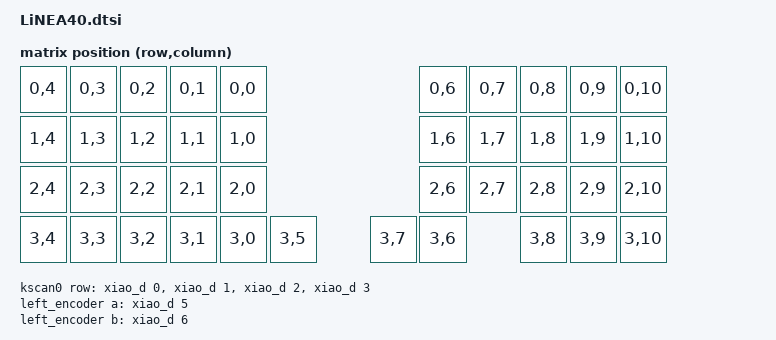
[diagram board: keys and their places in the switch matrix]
#include <dt-bindings/zmk/matrix_transform.h>
#include <physical_layouts.dtsi>

/ {
    chosen {
        zmk,physical-layout = &physical_layout0;
    };

    physical_layout0: physical_layout_0 {
        compatible = "zmk,physical-layout";
        display-name = "LiNEA40";
        kscan = <&kscan0>;
        transform = <&default_transform>;
        keys  //                     w   h    x    y     rot    rx    ry
            = <&key_physical_attrs 100 100    0    0       0     0     0>
            , <&key_physical_attrs 100 100  100    0       0     0     0>
            , <&key_physical_attrs 100 100  200    0       0     0     0>
            , <&key_physical_attrs 100 100  300    0       0     0     0>
            , <&key_physical_attrs 100 100  400    0       0     0     0>
            , <&key_physical_attrs 100 100  800    0       0     0     0>
            , <&key_physical_attrs 100 100  900    0       0     0     0>
            , <&key_physical_attrs 100 100 1000    0       0     0     0>
            , <&key_physical_attrs 100 100 1100    0       0     0     0>
            , <&key_physical_attrs 100 100 1200    0       0     0     0>
            , <&key_physical_attrs 100 100    0  100       0     0     0>
            , <&key_physical_attrs 100 100  100  100       0     0     0>
            , <&key_physical_attrs 100 100  200  100       0     0     0>
            , <&key_physical_attrs 100 100  300  100       0     0     0>
            , <&key_physical_attrs 100 100  400  100       0     0     0>
            , <&key_physical_attrs 100 100  800  100       0     0     0>
            , <&key_physical_attrs 100 100  900  100       0     0     0>
            , <&key_physical_attrs 100 100 1000  100       0     0     0>
            , <&key_physical_attrs 100 100 1100  100       0     0     0>
            , <&key_physical_attrs 100 100 1200  100       0     0     0>
            , <&key_physical_attrs 100 100    0  200       0     0     0>
            , <&key_physical_attrs 100 100  100  200       0     0     0>
            , <&key_physical_attrs 100 100  200  200       0     0     0>
            , <&key_physical_attrs 100 100  300  200       0     0     0>
            , <&key_physical_attrs 100 100  400  200       0     0     0>
            , <&key_physical_attrs 100 100  800  200       0     0     0>
            , <&key_physical_attrs 100 100  900  200       0     0     0>
            , <&key_physical_attrs 100 100 1000  200       0     0     0>
            , <&key_physical_attrs 100 100 1100  200       0     0     0>
            , <&key_physical_attrs 100 100 1200  200       0     0     0>
            , <&key_physical_attrs 100 100    0  300       0     0     0>
            , <&key_physical_attrs 100 100  100  300       0     0     0>
            , <&key_physical_attrs 100 100  200  300       0     0     0>
            , <&key_physical_attrs 100 100  300  300       0     0     0>
            , <&key_physical_attrs 100 100  400  300       0     0     0>
            , <&key_physical_attrs 100 100  500  300       0     0     0>
            , <&key_physical_attrs 100 100  700  300       0     0     0>
            , <&key_physical_attrs 100 100  800  300       0     0     0>
            , <&key_physical_attrs 100 100 1000  300       0     0     0>
            , <&key_physical_attrs 100 100 1100  300       0     0     0>
            , <&key_physical_attrs 100 100 1200  300       0     0     0>
            ;
    };

    default_transform: keymap_transform0 {
        compatible = "zmk,matrix-transform";
        columns = <11>;
        rows = <4>; 
        map = <
            RC(0,4) RC(0,3) RC(0,2) RC(0,1) RC(0,0)                 RC(0,6) RC(0,7) RC(0,8) RC(0,9) RC(0,10)
            RC(1,4) RC(1,3) RC(1,2) RC(1,1) RC(1,0)                 RC(1,6) RC(1,7) RC(1,8) RC(1,9) RC(1,10)
            RC(2,4) RC(2,3) RC(2,2) RC(2,1) RC(2,0)                 RC(2,6) RC(2,7) RC(2,8) RC(2,9) RC(2,10)
            RC(3,4) RC(3,3) RC(3,2) RC(3,1) RC(3,0) RC(3,5) RC(3,7) RC(3,6)         RC(3,8) RC(3,9) RC(3,10)
        >;
    };

    kscan0: kscan0 {
        compatible = "zmk,kscan-gpio-matrix";
        diode-direction = "col2row";

        row-gpios
            = <&xiao_d 0 (GPIO_ACTIVE_HIGH | GPIO_PULL_DOWN)>   //row0-D0
            , <&xiao_d 1 (GPIO_ACTIVE_HIGH | GPIO_PULL_DOWN)>   //row1-D1
            , <&xiao_d 2 (GPIO_ACTIVE_HIGH | GPIO_PULL_DOWN)>   //row2-D2
            , <&xiao_d 3 (GPIO_ACTIVE_HIGH | GPIO_PULL_DOWN)>   //row3-D3
            ;
    };

    left_encoder: encoder_left {
        compatible = "alps,ec11";
        a-gpios = <&xiao_d 5 (GPIO_ACTIVE_HIGH | GPIO_PULL_UP)>;
        b-gpios = <&xiao_d 6 (GPIO_ACTIVE_HIGH | GPIO_PULL_UP)>;
        steps = <24>;
        status = "disabled";
    };

    sensors: sensors {
        compatible = "zmk,keymap-sensors";
        sensors = <&left_encoder>;
        triggers-per-rotation = <24>; // 3x finer events; behavior compensates distance
    };

    trackball_listener: trackball_listener {
        compatible = "zmk,input-listener";
        status = "disabled";
    };
    behaviors {
        inertial_scroll: inertial_scroll {
            compatible = "zmk,behavior-inertial-scroll";
            #binding-cells = <1>;
            // v3.4: slower baseline to restore macOS slider headroom; stricter fast-only coast.
            frame-ms = <16>;
            tail-frames = <6>; // short glide after qualifying fast spin: <=6 frames
            rapid-threshold-ms = <18>; // only count very fast gaps
            grouping-threshold-ms = <45>; // prevents slow motion from initiating inertia
            rapid-impulse-q8 = <8>; // gentler post-stop glide velocity slope
            grouped-impulse-q8 = <90>; // lower post-stop glide starting velocity
            velocity-cap-q8 = <220>; // cap at ~0.86 HID fine units per 16ms frame
            decay-percent = <70>; // stronger deceleration after stop
            slow-detent-ticks = <2>; // Larger immediate wheel step when turning slowly
            rapid-detent-ticks = <1>; // Fallback for hosts without hi-res HID
            hires-detent-units = <2>; // 2 HID units per four 24-trigger events at 16x
            hires-immediate-units = <2>; // send each nonzero physical event immediately
            hires-chunk-units = <1>; // buffer only for any excess fine units
            encoder-trigger-divisor = <4>; // 25% less normal travel (16 -> 12 HID units/revolution at 16x)
            coast-wait-ms = <55>; // no synthetic acceleration during active rotation
            coast-min-fast-intervals = <7>; // eight quick events needed; rare coast
        };
    };

    // A pointing input source needs a listener for HID wheel reports.
    // Disabled on both halves by default; enabled only on central/right.
    inertia_input_listener: inertia_input_listener {
        compatible = "zmk,input-listener";
        device = <&inertial_scroll>;
        status = "disabled";
    };

};
